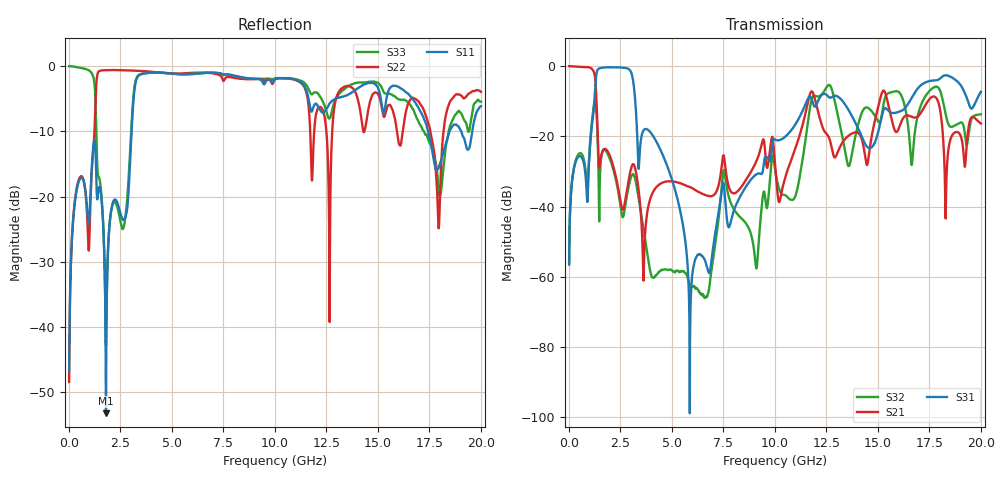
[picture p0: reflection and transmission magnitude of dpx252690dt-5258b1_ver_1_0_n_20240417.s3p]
! Diplexer
! Date: 2024/04/17
! TDK P/N: DPX252690DT-5258B1_Ver_1_0_N_20240417
! Frequency: Start=10.0MHz Stop=20.0GHz
! Port Assignments
!  |  |---2(Lo-Band)
!  1(Common)---|  |
!  |_____|---3(Hi-Band)
# MHz S DB R 50.0
!freq dBS11 angS11 dBS12 angS12 dBS13 angS13
! dBS21 angS21 dBS22 angS22 dBS23 angS23
! dBS31 angS31 dBS32 angS32 dBS33 angS33
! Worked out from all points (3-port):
!   2000 points, 10 MHz to 20 GHz, reference 50 ohm
!   strongest paths, dB at 10 MHz, 5.01 GHz, 10.01 GHz, 15.01 GHz, 20 GHz:
!     S31: -56.5, -32.5, -20.9, -18.9, -7.3
!     S21: 0.0, -32.8, -28.1, -11.7, -16.3
!     S32: -56.1, -58.3, -29.6, -15.7, -13.7
!   lowest |S11| = -53.2 dB at 1.8 GHz (marker M1), VSWR 1.00, Z = 50.2 - j0.00899 ohm
!   |S11| at or under -10 dB: start of sweep to 3.039 GHz; 17.44 GHz to 18.48 GHz (1.043 GHz wide, 5.81 % of centre); 19.05 GHz to 19.58 GHz (528.5 MHz wide, 2.74 % of centre)
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10  -46.52 -16.0  -0.03 -1.2  -56.67 90.3
    -0.02 -1.2  -48.39 -31.3  -55.72 88.9
    -56.55 92.2  -56.08 93.2  -0.00 -1.4
1060  -18.66 -145.9  -0.52 -144.2  -20.20 -176.5
      -0.52 -144.2  -19.59 20.1  -19.36 32.5
      -20.19 -176.5  -19.36 32.5  -0.86 -163.1
1800  -53.19 -2.3  -23.71 -163.1  -0.36 16.2
      -23.70 -163.1  -0.61 -109.5  -24.18 -110.0
      -0.35 16.2  -24.18 -110.0  -42.77 -160.2
3000  -12.53 126.5  -29.57 -86.6  -1.53 -157.9
      -29.56 -86.6  -0.67 -156.1  -31.88 -70.1
      -1.52 -157.9  -31.88 -70.2  -11.33 70.7
3630  -1.14 -41.9  -59.59 -68.7  -18.26 -139.6
      -59.48 -68.9  -0.76 -169.7  -46.65 167.9
      -18.26 -139.6  -46.62 167.8  -1.12 -53.1
5890  -1.19 -143.2  -34.50 -79.9  -72.54 -54.4
      -34.49 -79.8  -1.04 159.4  -62.63 -73.3
      -72.54 -55.8  -62.86 -74.2  -1.25 -146.5
10010  -2.01 150.3  -28.12 -85.9  -20.92 65.2
       -28.11 -85.8  -2.01 112.0  -29.57 68.2
       -20.91 65.2  -29.57 68.1  -1.87 150.3
12600  -6.04 -42.0  -20.03 -32.8  -8.74 -53.7
       -20.03 -32.8  -17.53 -22.9  -5.39 104.3
       -8.74 -53.6  -5.39 104.3  -7.92 122.7
13580  -4.32 -175.8  -19.82 12.0  -12.54 -123.5
       -19.82 12.1  -3.01 27.6  -28.50 61.6
       -12.54 -123.5  -28.50 61.6  -3.05 91.7
20000  -6.13 46.8  -16.34 153.3  -7.32 -68.0
       -16.34 153.4  -3.93 25.9  -13.71 -63.0
       -7.31 -67.9  -13.71 -63.0  -5.44 23.7
